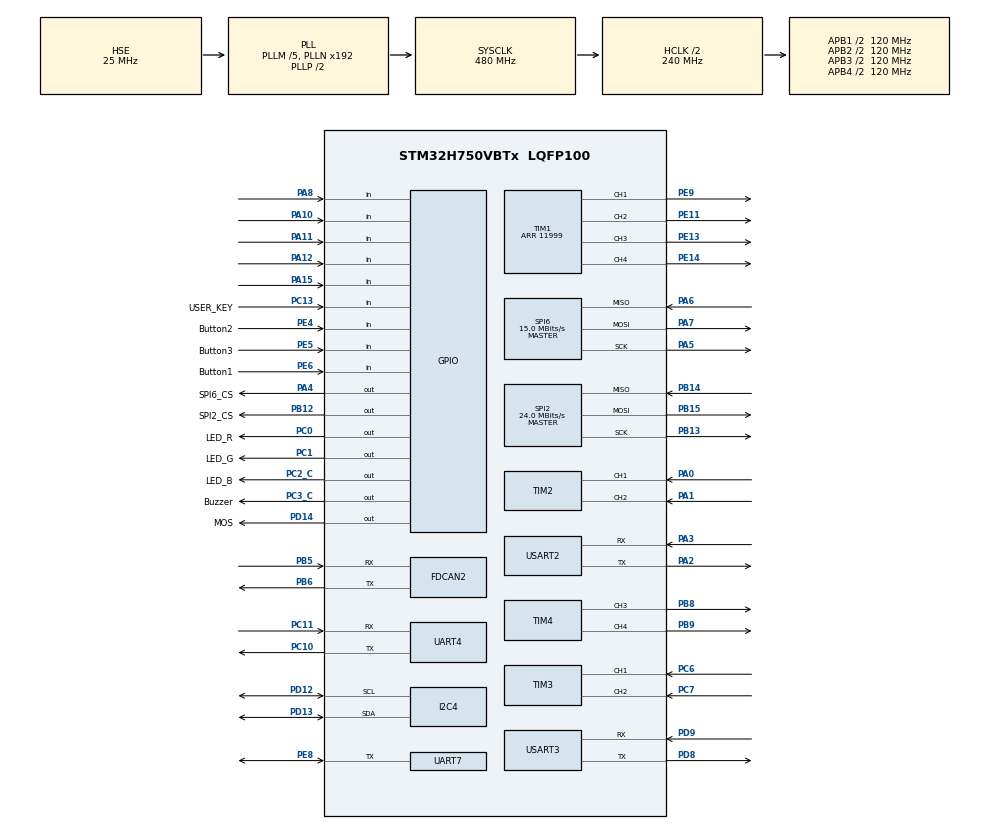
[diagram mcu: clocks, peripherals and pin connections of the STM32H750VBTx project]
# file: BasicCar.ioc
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CORTEX_M7.AccessPermission_S-Cortex_Memory_Protection_Unit_Region1_Settings_S=MPU_REGION_FULL_ACCESS
CORTEX_M7.BaseAddress_S-Cortex_Memory_Protection_Unit_Region1_Settings_S=0x24000000
CORTEX_M7.CPU_DCache=Enabled
CORTEX_M7.CPU_ICache=Enabled
CORTEX_M7.Enable_S-Cortex_Memory_Protection_Unit_Region1_Settings_S=MPU_REGION_ENABLE
CORTEX_M7.IsBufferable_S-Cortex_Memory_Protection_Unit_Region1_Settings_S=MPU_ACCESS_BUFFERABLE
CORTEX_M7.IsShareable_S-Cortex_Memory_Protection_Unit_Region1_Settings_S=MPU_ACCESS_SHAREABLE
CORTEX_M7.Size_S-Cortex_Memory_Protection_Unit_Region1_Settings_S=MPU_REGION_SIZE_32KB
CORTEX_M7.default_mode_Activation=1
Dma.Request0=USART3_RX
Dma.Request1=USART3_TX
Dma.USART3_RX.0.Direction=DMA_PERIPH_TO_MEMORY
Dma.USART3_RX.0.EventEnable=DISABLE
Dma.USART3_RX.0.FIFOMode=DMA_FIFOMODE_DISABLE
Dma.USART3_RX.0.Instance=DMA1_Stream0
Dma.USART3_RX.0.MemDataAlignment=DMA_MDATAALIGN_BYTE
Dma.USART3_RX.0.MemInc=DMA_MINC_ENABLE
Dma.USART3_RX.0.Mode=DMA_CIRCULAR
Dma.USART3_RX.0.PeriphDataAlignment=DMA_PDATAALIGN_BYTE
Dma.USART3_RX.0.PeriphInc=DMA_PINC_DISABLE
Dma.USART3_RX.0.Polarity=HAL_DMAMUX_REQ_GEN_RISING
Dma.USART3_RX.0.Priority=DMA_PRIORITY_LOW
Dma.USART3_RX.0.RequestNumber=1
Dma.USART3_RX.0.SignalID=NONE
Dma.USART3_RX.0.SyncEnable=DISABLE
Dma.USART3_RX.0.SyncPolarity=HAL_DMAMUX_SYNC_NO_EVENT
Dma.USART3_RX.0.SyncRequestNumber=1
Dma.USART3_RX.0.SyncSignalID=NONE
Dma.USART3_TX.1.Direction=DMA_MEMORY_TO_PERIPH
Dma.USART3_TX.1.EventEnable=DISABLE
Dma.USART3_TX.1.FIFOMode=DMA_FIFOMODE_DISABLE
Dma.USART3_TX.1.Instance=DMA1_Stream1
Dma.USART3_TX.1.MemDataAlignment=DMA_MDATAALIGN_BYTE
Dma.USART3_TX.1.MemInc=DMA_MINC_ENABLE
Dma.USART3_TX.1.Mode=DMA_NORMAL
Dma.USART3_TX.1.PeriphDataAlignment=DMA_PDATAALIGN_BYTE
Dma.USART3_TX.1.PeriphInc=DMA_PINC_DISABLE
Dma.USART3_TX.1.Polarity=HAL_DMAMUX_REQ_GEN_RISING
Dma.USART3_TX.1.Priority=DMA_PRIORITY_LOW
Dma.USART3_TX.1.RequestNumber=1
Dma.USART3_TX.1.SignalID=NONE
Dma.USART3_TX.1.SyncEnable=DISABLE
Dma.USART3_TX.1.SyncPolarity=HAL_DMAMUX_SYNC_NO_EVENT
Dma.USART3_TX.1.SyncRequestNumber=1
Dma.USART3_TX.1.SyncSignalID=NONE
FDCAN2.CalculateBaudRateNominal=1562500
FDCAN2.CalculateTimeBitNominal=640
FDCAN2.CalculateTimeQuantumNominal=213.33333333333334
FDCAN2.TxBuffersNbr=32
I2C4.Timing=0x307075B1
Mcu.Family=STM32H7
Mcu.Name=STM32H750VBTx
Mcu.Package=LQFP100
NVIC.DMA1_Stream0_IRQn=true\:0\:0\:false\:false\:true\:false\:true\:true
NVIC.DMA1_Stream1_IRQn=true\:0\:0\:false\:false\:true\:false\:true\:true
NVIC.PriorityGroup=NVIC_PRIORITYGROUP_4
NVIC.TIM7_IRQn=true\:1\:0\:true\:false\:true\:true\:true\:true
NVIC.USART3_IRQn=true\:0\:0\:false\:false\:true\:true\:true\:true
PA0.Signal=S_TIM2_CH1_ETR
PA1.Signal=S_TIM2_CH2
PA10.Signal=GPIO_Input
PA11.Signal=GPIO_Input
PA12.Signal=GPIO_Input
PA13\ (JTMS/SWDIO).Mode=Serial_Wire
PA13\ (JTMS/SWDIO).Signal=DEBUG_JTMS-SWDIO
PA14\ (JTCK/SWCLK).Mode=Serial_Wire
PA14\ (JTCK/SWCLK).Signal=DEBUG_JTCK-SWCLK
PA15\ (JTDI).Signal=GPIO_Input
PA2.Mode=Asynchronous
PA2.Signal=USART2_TX
PA3.Mode=Asynchronous
PA3.Signal=USART2_RX
PA4.GPIO_Label=SPI6_CS
PA4.GPIO_PuPd=GPIO_NOPULL
PA4.GPIO_Speed=GPIO_SPEED_FREQ_VERY_HIGH
PA4.PinState=GPIO_PIN_SET
PA4.Signal=GPIO_Output
PA5.Mode=Full_Duplex_Master
PA5.Signal=SPI6_SCK
PA6.Mode=Full_Duplex_Master
PA6.Signal=SPI6_MISO
PA7.Mode=Full_Duplex_Master
PA7.Signal=SPI6_MOSI
PA8.Signal=GPIO_Input
PB12.GPIO_Label=SPI2_CS
PB12.GPIO_Speed=GPIO_SPEED_FREQ_VERY_HIGH
PB12.PinState=GPIO_PIN_SET
PB12.Signal=GPIO_Output
PB13.Mode=Full_Duplex_Master
PB13.Signal=SPI2_SCK
PB14.Mode=Full_Duplex_Master
PB14.Signal=SPI2_MISO
PB15.Mode=Full_Duplex_Master
PB15.Signal=SPI2_MOSI
PB5.Mode=FDCAN_Activate
PB5.Signal=FDCAN2_RX
PB6.Mode=FDCAN_Activate
PB6.Signal=FDCAN2_TX
PB8.Signal=S_TIM4_CH3
PB9.Signal=S_TIM4_CH4
PC0.GPIO_Label=LED_R
PC0.PinState=GPIO_PIN_SET
PC0.Signal=GPIO_Output
PC1.GPIO_Label=LED_G
PC1.PinState=GPIO_PIN_SET
PC1.Signal=GPIO_Output
PC10.Mode=Asynchronous
PC10.Signal=UART4_TX
PC11.Mode=Asynchronous
PC11.Signal=UART4_RX
PC13.GPIO_Label=USER_KEY
PC13.GPIO_PuPd=GPIO_PULLUP
PC13.Signal=GPIO_Input
PC2_C.GPIO_Label=LED_B
PC2_C.PinState=GPIO_PIN_SET
PC2_C.Signal=GPIO_Output
PC3_C.GPIO_Label=Buzzer
PC3_C.PinState=GPIO_PIN_RESET
PC3_C.Signal=GPIO_Output
PC6.Signal=S_TIM3_CH1
PC7.Signal=S_TIM3_CH2
PD12.Mode=I2C
PD12.Signal=I2C4_SCL
PD13.Mode=I2C
PD13.Signal=I2C4_SDA
PD14.GPIO_Label=MOS
PD14.Signal=GPIO_Output
PD8.Mode=Asynchronous
PD8.Signal=USART3_TX
PD9.Mode=Asynchronous
PD9.Signal=USART3_RX
PE11.Signal=S_TIM1_CH2
PE13.Signal=S_TIM1_CH3
PE14.Signal=S_TIM1_CH4
PE4.GPIO_Label=Button2
PE4.GPIO_PuPd=GPIO_PULLUP
PE4.Signal=GPIO_Input
PE5.GPIO_Label=Button3
PE5.GPIO_PuPd=GPIO_PULLUP
PE5.Signal=GPIO_Input
PE6.GPIO_Label=Button1
PE6.GPIO_PuPd=GPIO_PULLUP
PE6.Signal=GPIO_Input
PE8.Mode=Half_duplex(single_wire_mode)
PE8.Signal=UART7_TX
PE9.Signal=S_TIM1_CH1
PH0-OSC_IN\ (PH0).Mode=HSE-External-Oscillator
PH0-OSC_IN\ (PH0).Signal=RCC_OSC_IN
PH1-OSC_OUT\ (PH1).Mode=HSE-External-Oscillator
PH1-OSC_OUT\ (PH1).Signal=RCC_OSC_OUT
ProjectManager.HeapSize=0x200
ProjectManager.StackSize=0x400
ProjectManager.TargetToolchain=CMake
RCC.ADCFreq_Value=75000000
RCC.APB1Freq_Value=120000000
RCC.APB2Freq_Value=120000000
RCC.APB3Freq_Value=120000000
RCC.APB4Freq_Value=120000000
RCC.CortexFreq_Value=480000000
RCC.D1PPRE=RCC_APB3_DIV2
RCC.D2PPRE1=RCC_APB1_DIV2
RCC.D2PPRE2=RCC_APB2_DIV2
RCC.D3PPRE=RCC_APB4_DIV2
RCC.DIVM1=5
RCC.DIVM2=2
RCC.DIVM3=5
RCC.DIVN1=192
RCC.DIVN2=12
RCC.DIVN3=192
RCC.DIVQ1=5
RCC.FDCANCLockSelection=RCC_FDCANCLKSOURCE_PLL2
RCC.HCLKFreq_Value=240000000
RCC.HPRE=RCC_HCLK_DIV2
RCC.HSE_VALUE=25000000
RCC.PLL2FRACN=0
RCC.PLLFRACN=0
RCC.PLLSourceVirtual=RCC_PLLSOURCE_HSE
RCC.SYSCLKFreq_VALUE=480000000
RCC.SYSCLKSource=RCC_SYSCLKSOURCE_PLLCLK
RCC.USBFreq_Value=192000000
SH.S_TIM1_CH1.0=TIM1_CH1,PWM Generation1 CH1
SH.S_TIM1_CH2.0=TIM1_CH2,PWM Generation2 CH2
SH.S_TIM1_CH3.0=TIM1_CH3,PWM Generation3 CH3
SH.S_TIM1_CH4.0=TIM1_CH4,PWM Generation4 CH4
SH.S_TIM2_CH1_ETR.0=TIM2_CH1,Encoder_Interface
SH.S_TIM2_CH2.0=TIM2_CH2,Encoder_Interface
SH.S_TIM3_CH1.0=TIM3_CH1,Encoder_Interface
SH.S_TIM3_CH2.0=TIM3_CH2,Encoder_Interface
SH.S_TIM4_CH3.0=TIM4_CH3,PWM Generation3 CH3
SH.S_TIM4_CH4.0=TIM4_CH4,PWM Generation4 CH4
SPI2.BaudRatePrescaler=SPI_BAUDRATEPRESCALER_8
SPI2.CLKPhase=SPI_PHASE_1EDGE
SPI2.CLKPolarity=SPI_POLARITY_LOW
SPI2.CalculateBaudRate=24.0 MBits/s
SPI2.DataSize=SPI_DATASIZE_8BIT
SPI2.Direction=SPI_DIRECTION_2LINES
SPI2.Mode=SPI_MODE_MASTER
SPI2.VirtualType=VM_MASTER
SPI6.BaudRatePrescaler=SPI_BAUDRATEPRESCALER_8
SPI6.CLKPhase=SPI_PHASE_1EDGE
SPI6.CLKPolarity=SPI_POLARITY_LOW
SPI6.CalculateBaudRate=15.0 MBits/s
SPI6.DataSize=SPI_DATASIZE_8BIT
SPI6.Direction=SPI_DIRECTION_2LINES
SPI6.Mode=SPI_MODE_MASTER
SPI6.VirtualType=VM_MASTER
TIM1.AutoReloadPreload=TIM_AUTORELOAD_PRELOAD_ENABLE
TIM1.Channel-PWM\ Generation1\ CH1=TIM_CHANNEL_1
TIM1.Channel-PWM\ Generation2\ CH2=TIM_CHANNEL_2
TIM1.Channel-PWM\ Generation3\ CH3=TIM_CHANNEL_3
TIM1.Channel-PWM\ Generation4\ CH4=TIM_CHANNEL_4
TIM1.Period=11999
TIM4.Channel-PWM\ Generation3\ CH3=TIM_CHANNEL_3
TIM4.Channel-PWM\ Generation4\ CH4=TIM_CHANNEL_4
TIM7.AutoReloadPreload=TIM_AUTORELOAD_PRELOAD_ENABLE
TIM7.Period=19999
TIM7.Prescaler=239
UART4.FIFOMode=FIFOMODE_DISABLE
USART2.VirtualMode-Asynchronous=VM_ASYNC
USART3.FIFOMode=FIFOMODE_ENABLE
USART3.VirtualMode-Asynchronous=VM_ASYNC
VP_MEMORYMAP_VS_MEMORYMAP.Mode=CurAppReg
VP_TIM7_VS_ClockSourceINT.Mode=Enable_Timer
board=custom

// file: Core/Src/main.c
/* USER CODE BEGIN Header */
/**
  ******************************************************************************
  * @file           : main.c
  * @brief          : Main program body
  ******************************************************************************
  * @attention
  *
  * Copyright (c) 2025 STMicroelectronics.
  * All rights reserved.
  *
  * This software is licensed under terms that can be found in the LICENSE file
  * in the root directory of this software component.
  * If no LICENSE file comes with this software, it is provided AS-IS.
  *
  ******************************************************************************
  */
/* USER CODE END Header */
#include "main.h"
#include "dma.h"
#include "fdcan.h"
#include "i2c.h"
#include "spi.h"
#include "tim.h"
#include "usart.h"
#include "gpio.h"

/* USER CODE BEGIN Includes */
#include "SEGGER_RTT.h"
#include "app_entry.h"
#include "LineFollower_Interface.h"
#include "App_PidConfig.h"
#include "ICM45686.h"
#include "OLED.h"
#include "u8g2.h"
/* USER CODE END Includes */

/* USER CODE BEGIN PTD */
u8g2_t u8g2;
/* USER CODE END PTD */

/* USER CODE BEGIN PV */
float times = 0.01f;
float User_YPR[3];
/* USER CODE END PV */

void SystemClock_Config(void);
static void MPU_Config(void);

int main(void)
{

  /* MPU Configuration--------------------------------------------------------*/
  MPU_Config();

  /* Enable the CPU Cache */

  /* Enable I-Cache---------------------------------------------------------*/
  SCB_EnableICache();

  /* Enable D-Cache---------------------------------------------------------*/
  SCB_EnableDCache();

  /* MCU Configuration--------------------------------------------------------*/

  /* Reset of all peripherals, Initializes the Flash interface and the Systick. */
  HAL_Init();

  /* Configure the system clock */
  SystemClock_Config();

  /* Initialize all configured peripherals */
  MX_GPIO_Init();
  MX_DMA_Init();
  MX_TIM1_Init();
  MX_FDCAN2_Init();
  MX_SPI2_Init();
  MX_I2C4_Init();
  MX_TIM2_Init();
  MX_TIM3_Init();
  MX_USART3_UART_Init();
  MX_UART7_Init();
  MX_TIM4_Init();
  MX_UART4_Init();
  MX_USART2_UART_Init();
  MX_TIM7_Init();
  MX_SPI6_Init();
  /* USER CODE BEGIN 2 */
  SEGGER_RTT_Init();

  // 1. 初始化寻线控制 (电机, 定时器)
  LineFollower_Init();

  // 2. 加载 Flash 参数并覆盖默认 PID
  App_Pid_Init();

  // 3. 启动串口 DMA 接收
  App_Serial_Init();

  // 4. 初始化陀螺仪
  IMU_init();

  HAL_TIM_Base_Start_IT(&htim7);

  u8g2Init(&u8g2);
  u8g2_SetFont(&u8g2,u8g2_font_6x12_tf);

  App_Start(); // 启动 C++ 应用程序入口
  /* USER CODE END 2 */

  /* Infinite loop */
  /* USER CODE BEGIN WHILE */
  while (1)
  {
    // HAL_UART_Transmit(&huart4, (uint8_t *)msg, sizeof(msg) - 1, HAL_MAX_DELAY);
    // SEGGER_RTT_printf(0, "%d\r\n", time++);
    // HAL_Delay(1000); /* 每 1 秒发送一次 */

    /* USER CODE END WHILE */

  }
}

void SystemClock_Config(void)
{
  RCC_OscInitTypeDef RCC_OscInitStruct = {0};
  RCC_ClkInitTypeDef RCC_ClkInitStruct = {0};

  /** Supply configuration update enable
  */
  HAL_PWREx_ConfigSupply(PWR_LDO_SUPPLY);

  /** Configure the main internal regulator output voltage
  */
  __HAL_PWR_VOLTAGESCALING_CONFIG(PWR_REGULATOR_VOLTAGE_SCALE0);

  while(!__HAL_PWR_GET_FLAG(PWR_FLAG_VOSRDY)) {}

  /** Initializes the RCC Oscillators according to the specified parameters
  * in the RCC_OscInitTypeDef structure.
  */
  RCC_OscInitStruct.OscillatorType = RCC_OSCILLATORTYPE_HSE;
  RCC_OscInitStruct.HSEState = RCC_HSE_ON;
  RCC_OscInitStruct.PLL.PLLState = RCC_PLL_ON;
  RCC_OscInitStruct.PLL.PLLSource = RCC_PLLSOURCE_HSE;
  RCC_OscInitStruct.PLL.PLLM = 5;
  RCC_OscInitStruct.PLL.PLLN = 192;
  RCC_OscInitStruct.PLL.PLLP = 2;
  RCC_OscInitStruct.PLL.PLLQ = 5;
  RCC_OscInitStruct.PLL.PLLR = 2;
  RCC_OscInitStruct.PLL.PLLRGE = RCC_PLL1VCIRANGE_2;
  RCC_OscInitStruct.PLL.PLLVCOSEL = RCC_PLL1VCOWIDE;
  RCC_OscInitStruct.PLL.PLLFRACN = 0;
  if (HAL_RCC_OscConfig(&RCC_OscInitStruct) != HAL_OK)
  {
    Error_Handler();
  }

  /** Initializes the CPU, AHB and APB buses clocks
  */
  RCC_ClkInitStruct.ClockType = RCC_CLOCKTYPE_HCLK|RCC_CLOCKTYPE_SYSCLK
                              |RCC_CLOCKTYPE_PCLK1|RCC_CLOCKTYPE_PCLK2
                              |RCC_CLOCKTYPE_D3PCLK1|RCC_CLOCKTYPE_D1PCLK1;
  RCC_ClkInitStruct.SYSCLKSource = RCC_SYSCLKSOURCE_PLLCLK;
  RCC_ClkInitStruct.SYSCLKDivider = RCC_SYSCLK_DIV1;
  RCC_ClkInitStruct.AHBCLKDivider = RCC_HCLK_DIV2;
  RCC_ClkInitStruct.APB3CLKDivider = RCC_APB3_DIV2;
  RCC_ClkInitStruct.APB1CLKDivider = RCC_APB1_DIV2;
  RCC_ClkInitStruct.APB2CLKDivider = RCC_APB2_DIV2;
  RCC_ClkInitStruct.APB4CLKDivider = RCC_APB4_DIV2;

  if (HAL_RCC_ClockConfig(&RCC_ClkInitStruct, FLASH_LATENCY_4) != HAL_OK)
  {
    Error_Handler();
  }
}

/* USER CODE BEGIN 4 */
void HAL_TIM_PeriodElapsedCallback(TIM_HandleTypeDef *htim)
{
  if (htim->Instance == TIM7) {
    IMU_getYawPitchRoll(User_YPR);
    LineFollower_OnTimer();
  }
}
/* USER CODE END 4 */

 /* MPU Configuration */

void MPU_Config(void)
{
  MPU_Region_InitTypeDef MPU_InitStruct = {0};

  /* Disables the MPU */
  HAL_MPU_Disable();

  /** Initializes and configures the Region and the memory to be protected
  */
  MPU_InitStruct.Enable = MPU_REGION_ENABLE;
  MPU_InitStruct.Number = MPU_REGION_NUMBER0;
  MPU_InitStruct.BaseAddress = 0x0;
  MPU_InitStruct.Size = MPU_REGION_SIZE_4GB;
  MPU_InitStruct.SubRegionDisable = 0x87;
  MPU_InitStruct.TypeExtField = MPU_TEX_LEVEL0;
  MPU_InitStruct.AccessPermission = MPU_REGION_NO_ACCESS;
  MPU_InitStruct.DisableExec = MPU_INSTRUCTION_ACCESS_DISABLE;
  MPU_InitStruct.IsShareable = MPU_ACCESS_SHAREABLE;
  MPU_InitStruct.IsCacheable = MPU_ACCESS_NOT_CACHEABLE;
  MPU_InitStruct.IsBufferable = MPU_ACCESS_NOT_BUFFERABLE;

  HAL_MPU_ConfigRegion(&MPU_InitStruct);

  /** Initializes and configures the Region and the memory to be protected
  */
  MPU_InitStruct.Number = MPU_REGION_NUMBER1;
  MPU_InitStruct.BaseAddress = 0x24000000;
  MPU_InitStruct.Size = MPU_REGION_SIZE_32KB;
  MPU_InitStruct.SubRegionDisable = 0x0;
  MPU_InitStruct.AccessPermission = MPU_REGION_FULL_ACCESS;
  MPU_InitStruct.DisableExec = MPU_INSTRUCTION_ACCESS_ENABLE;
  MPU_InitStruct.IsBufferable = MPU_ACCESS_BUFFERABLE;

  HAL_MPU_ConfigRegion(&MPU_InitStruct);
  /* Enables the MPU */
  HAL_MPU_Enable(MPU_PRIVILEGED_DEFAULT);

}

void Error_Handler(void)
{
  __disable_irq();
  while (1)
  {
  }
}
